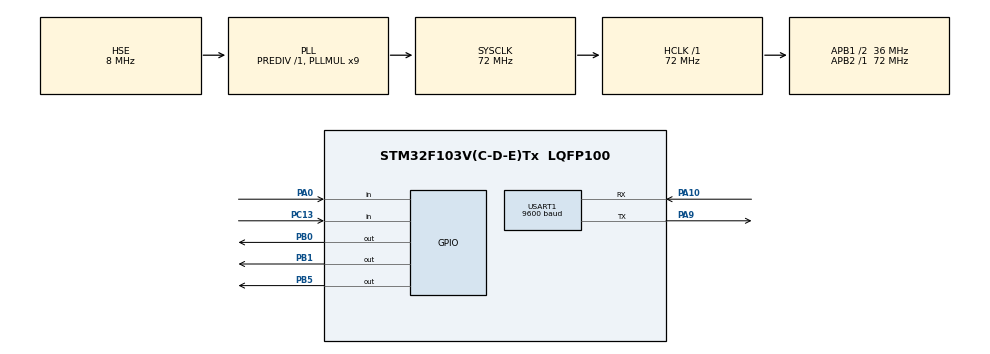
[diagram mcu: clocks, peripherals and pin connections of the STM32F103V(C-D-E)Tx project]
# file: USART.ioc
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Mcu.Family=STM32F1
Mcu.Name=STM32F103V(C-D-E)Tx
Mcu.Package=LQFP100
NVIC.PriorityGroup=NVIC_PRIORITYGROUP_4
OSC_IN.Mode=HSE-External-Oscillator
OSC_IN.Signal=RCC_OSC_IN
OSC_OUT.Mode=HSE-External-Oscillator
OSC_OUT.Signal=RCC_OSC_OUT
PA0-WKUP.Signal=GPIO_Input
PA10.Mode=Asynchronous
PA10.Signal=USART1_RX
PA13.Mode=Serial_Wire
PA13.Signal=SYS_JTMS-SWDIO
PA14.Mode=Serial_Wire
PA14.Signal=SYS_JTCK-SWCLK
PA9.Mode=Asynchronous
PA9.Signal=USART1_TX
PB0.GPIO_Speed=GPIO_SPEED_FREQ_HIGH
PB0.PinState=GPIO_PIN_SET
PB0.Signal=GPIO_Output
PB1.GPIO_Speed=GPIO_SPEED_FREQ_HIGH
PB1.PinState=GPIO_PIN_SET
PB1.Signal=GPIO_Output
PB5.GPIO_Speed=GPIO_SPEED_FREQ_HIGH
PB5.PinState=GPIO_PIN_SET
PB5.Signal=GPIO_Output
PC13-TAMPER-RTC.Signal=GPIO_Input
PC14-OSC32_IN.Mode=LSE-External-Oscillator
PC14-OSC32_IN.Signal=RCC_OSC32_IN
PC15-OSC32_OUT.Mode=LSE-External-Oscillator
PC15-OSC32_OUT.Signal=RCC_OSC32_OUT
ProjectManager.HeapSize=0x200
ProjectManager.StackSize=0x400
ProjectManager.TargetToolchain=MDK-ARM V5
RCC.AHBFreq_Value=72000000
RCC.APB1CLKDivider=RCC_HCLK_DIV2
RCC.APB1Freq_Value=36000000
RCC.APB1TimFreq_Value=72000000
RCC.APB2Freq_Value=72000000
RCC.APB2TimFreq_Value=72000000
RCC.HCLKFreq_Value=72000000
RCC.PLLMUL=RCC_PLL_MUL9
RCC.PLLSourceVirtual=RCC_PLLSOURCE_HSE
RCC.SYSCLKFreq_VALUE=72000000
RCC.SYSCLKSource=RCC_SYSCLKSOURCE_PLLCLK
RCC.USBFreq_Value=72000000
USART1.BaudRate=9600
USART1.VirtualMode=VM_ASYNC
board=custom

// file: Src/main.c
/* USER CODE BEGIN Header */
/**
  ******************************************************************************
  * @file           : main.c
  * @brief          : Main program body
  ******************************************************************************
  * @attention
  *
  * <h2><center>&copy; Copyright (c) 2019 STMicroelectronics.
  * All rights reserved.</center></h2>
  *
  * This software component is licensed by ST under BSD 3-Clause license,
  * the "License"; You may not use this file except in compliance with the
  * License. You may obtain a copy of the License at:
  *                        opensource.org/licenses/BSD-3-Clause
  *
  ******************************************************************************
  */
/* USER CODE END Header */

#include "main.h"

UART_HandleTypeDef huart1;

void SystemClock_Config(void);
static void MX_GPIO_Init(void);
static void MX_USART1_UART_Init(void);

/* USER CODE BEGIN 0 */
uint8_t strK1[]="K1 is Pressed\n";
uint8_t strK2[]="K2 is Pressed\n";
uint8_t Rxstr;

/* USER CODE END 0 */

int main(void)
{

  /* MCU Configuration--------------------------------------------------------*/

  /* Reset of all peripherals, Initializes the Flash interface and the Systick. */
  HAL_Init();

  /* Configure the system clock */
  SystemClock_Config();

  /* Initialize all configured peripherals */
  MX_GPIO_Init();
  MX_USART1_UART_Init();

  /* Infinite loop */
  while (1)
  {

    /* USER CODE BEGIN 3 */
		if (HAL_GPIO_ReadPin(GPIOA, GPIO_PIN_0) == GPIO_PIN_SET) {
			HAL_UART_Transmit(&huart1,strK1,sizeof(strK1)-1,100);
			HAL_GPIO_WritePin(GPIOB, GPIO_PIN_5, GPIO_PIN_RESET);
		}
		if (HAL_GPIO_ReadPin(GPIOC, GPIO_PIN_13) == GPIO_PIN_SET) {
			HAL_UART_Transmit(&huart1,strK2,sizeof(strK2)-1,100);
		}

		if (HAL_UART_Receive(&huart1,&Rxstr,1,100)==HAL_OK) {
		  if (Rxstr == 0x30) {
				HAL_GPIO_WritePin(GPIOB, GPIO_PIN_0|GPIO_PIN_1|GPIO_PIN_5, GPIO_PIN_SET);
			}
			else if (Rxstr == 'R') {
				HAL_GPIO_WritePin(GPIOB, GPIO_PIN_0|GPIO_PIN_1, GPIO_PIN_SET);
				HAL_GPIO_WritePin(GPIOB, GPIO_PIN_5, GPIO_PIN_RESET);
			}
			else if (Rxstr == 'G') {
				HAL_GPIO_WritePin(GPIOB, GPIO_PIN_5|GPIO_PIN_1, GPIO_PIN_SET);
				HAL_GPIO_WritePin(GPIOB, GPIO_PIN_0, GPIO_PIN_RESET);
			}
			else if (Rxstr == 'B') {
				HAL_GPIO_WritePin(GPIOB, GPIO_PIN_5|GPIO_PIN_0, GPIO_PIN_SET);
				HAL_GPIO_WritePin(GPIOB, GPIO_PIN_1, GPIO_PIN_RESET);
			}
		}
	}
  /* USER CODE END 3 */
}

void SystemClock_Config(void)
{
  RCC_OscInitTypeDef RCC_OscInitStruct = {0};
  RCC_ClkInitTypeDef RCC_ClkInitStruct = {0};

  /** Initializes the CPU, AHB and APB busses clocks
  */
  RCC_OscInitStruct.OscillatorType = RCC_OSCILLATORTYPE_HSE;
  RCC_OscInitStruct.HSEState = RCC_HSE_ON;
  RCC_OscInitStruct.HSEPredivValue = RCC_HSE_PREDIV_DIV1;
  RCC_OscInitStruct.HSIState = RCC_HSI_ON;
  RCC_OscInitStruct.PLL.PLLState = RCC_PLL_ON;
  RCC_OscInitStruct.PLL.PLLSource = RCC_PLLSOURCE_HSE;
  RCC_OscInitStruct.PLL.PLLMUL = RCC_PLL_MUL9;
  if (HAL_RCC_OscConfig(&RCC_OscInitStruct) != HAL_OK)
  {
    Error_Handler();
  }
  /** Initializes the CPU, AHB and APB busses clocks
  */
  RCC_ClkInitStruct.ClockType = RCC_CLOCKTYPE_HCLK|RCC_CLOCKTYPE_SYSCLK
                              |RCC_CLOCKTYPE_PCLK1|RCC_CLOCKTYPE_PCLK2;
  RCC_ClkInitStruct.SYSCLKSource = RCC_SYSCLKSOURCE_PLLCLK;
  RCC_ClkInitStruct.AHBCLKDivider = RCC_SYSCLK_DIV1;
  RCC_ClkInitStruct.APB1CLKDivider = RCC_HCLK_DIV2;
  RCC_ClkInitStruct.APB2CLKDivider = RCC_HCLK_DIV1;

  if (HAL_RCC_ClockConfig(&RCC_ClkInitStruct, FLASH_LATENCY_2) != HAL_OK)
  {
    Error_Handler();
  }
}

static void MX_USART1_UART_Init(void)
{

  huart1.Instance = USART1;
  huart1.Init.BaudRate = 9600;
  huart1.Init.WordLength = UART_WORDLENGTH_8B;
  huart1.Init.StopBits = UART_STOPBITS_1;
  huart1.Init.Parity = UART_PARITY_NONE;
  huart1.Init.Mode = UART_MODE_TX_RX;
  huart1.Init.HwFlowCtl = UART_HWCONTROL_NONE;
  huart1.Init.OverSampling = UART_OVERSAMPLING_16;
  if (HAL_UART_Init(&huart1) != HAL_OK)
  {
    Error_Handler();
  }

}

static void MX_GPIO_Init(void)
{
  GPIO_InitTypeDef GPIO_InitStruct = {0};

  /* GPIO Ports Clock Enable */
  __HAL_RCC_GPIOC_CLK_ENABLE();
  __HAL_RCC_GPIOA_CLK_ENABLE();
  __HAL_RCC_GPIOB_CLK_ENABLE();

  /*Configure GPIO pin Output Level */
  HAL_GPIO_WritePin(GPIOB, GPIO_PIN_0|GPIO_PIN_1|GPIO_PIN_5, GPIO_PIN_SET);

  /*Configure GPIO pin : PC13 */
  GPIO_InitStruct.Pin = GPIO_PIN_13;
  GPIO_InitStruct.Mode = GPIO_MODE_INPUT;
  GPIO_InitStruct.Pull = GPIO_NOPULL;
  HAL_GPIO_Init(GPIOC, &GPIO_InitStruct);

  /*Configure GPIO pin : PA0 */
  GPIO_InitStruct.Pin = GPIO_PIN_0;
  GPIO_InitStruct.Mode = GPIO_MODE_INPUT;
  GPIO_InitStruct.Pull = GPIO_NOPULL;
  HAL_GPIO_Init(GPIOA, &GPIO_InitStruct);

  /*Configure GPIO pins : PB0 PB1 PB5 */
  GPIO_InitStruct.Pin = GPIO_PIN_0|GPIO_PIN_1|GPIO_PIN_5;
  GPIO_InitStruct.Mode = GPIO_MODE_OUTPUT_PP;
  GPIO_InitStruct.Pull = GPIO_NOPULL;
  GPIO_InitStruct.Speed = GPIO_SPEED_FREQ_HIGH;
  HAL_GPIO_Init(GPIOB, &GPIO_InitStruct);

}

void Error_Handler(void)
{
}

/************************ (C) COPYRIGHT STMicroelectronics *****END OF FILE****/
